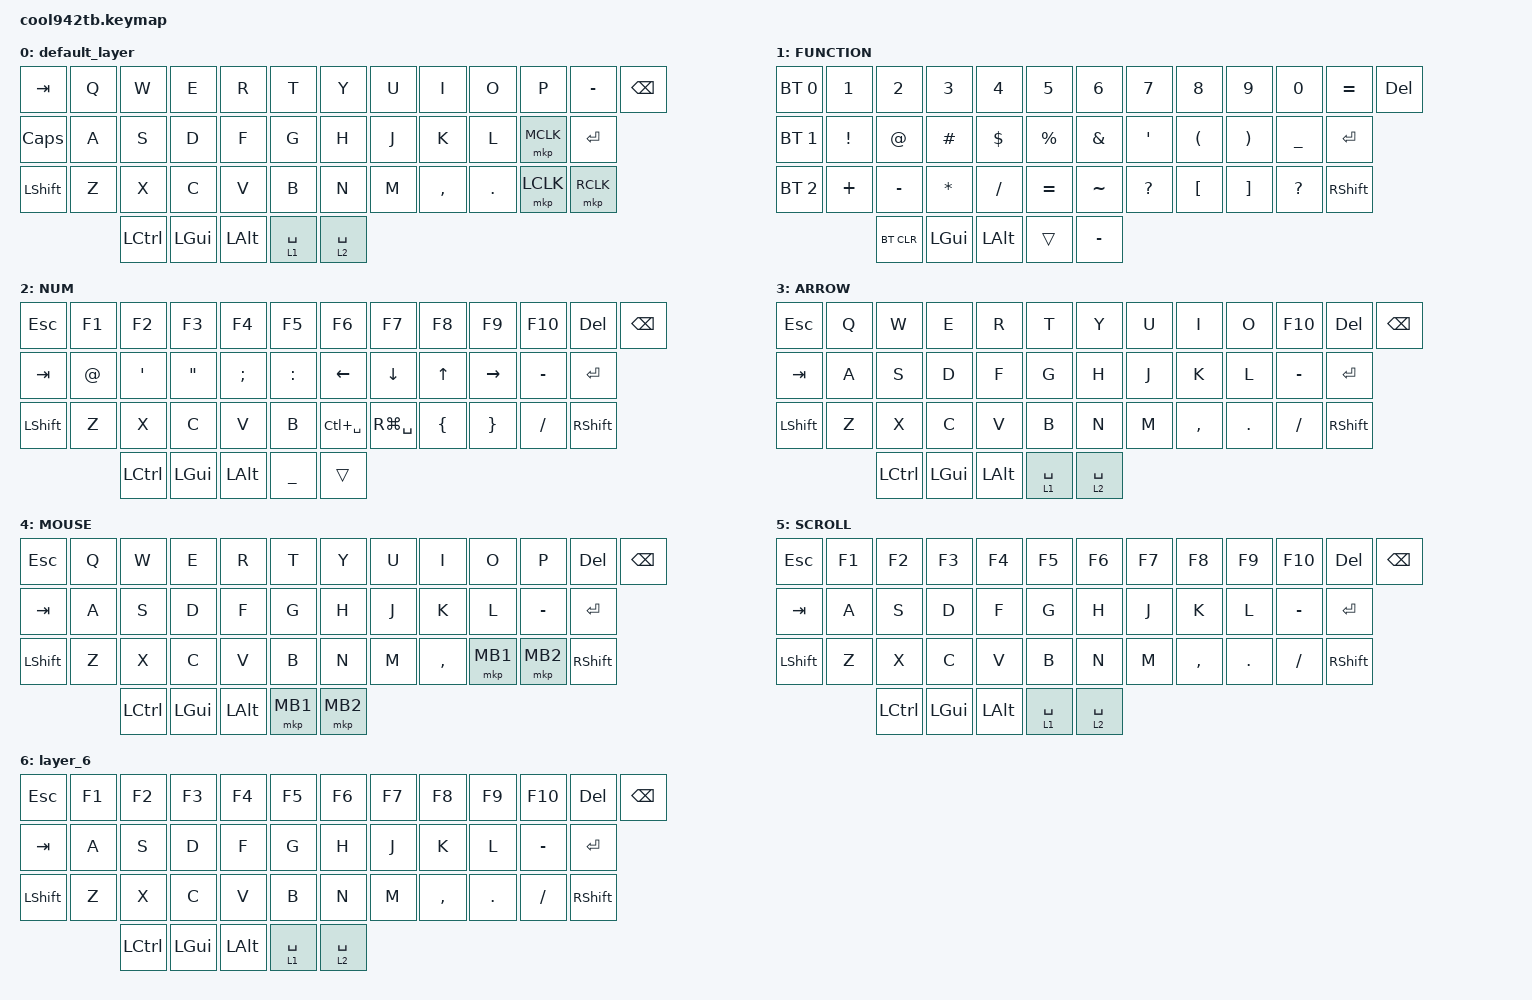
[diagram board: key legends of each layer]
#include <behaviors.dtsi>
#include <dt-bindings/zmk/bt.h>
#include <dt-bindings/zmk/keys.h>
#include <dt-bindings/zmk/pointing.h>

#define MOUSE 4
#define SCROLL 5
#define NUM 6

&mt {
    flavor = "balanced";
    quick-tap-ms = <0>;
};

/ {
    combos {
        compatible = "zmk,combos";

        clear_ble_setting {
            bindings = <&bt BT_CLR_ALL>;
            key-positions = <11 12>;
            layers = <1>;
        };

        shift_tab {
            bindings = <&mo 1>;
            key-positions = <34 33>;
            layers = <0>;
        };

        muhennkann {
            bindings = <&to_layer_0 INT_MUHENKAN>;
            key-positions = <11 10>;
        };

        double_quotation {
            bindings = <&kp DOUBLE_QUOTES>;
            key-positions = <20 21>;
        };

        eq {
            bindings = <&kp EQUAL>;
            key-positions = <24 25>;
        };

        esc {
            bindings = <&kp ESCAPE>;
            key-positions = <0 1>;
        };

        alt+grave {
            bindings = <&kp LA(GRAVE)>;
            key-positions = <13 14>;
        };
    };

    macros {
        to_layer_0: to_layer_0 {
            compatible = "zmk,behavior-macro-one-param";
            #binding-cells = <1>;
            bindings = <&to 0 &macro_param_1to1 &kp MACRO_PLACEHOLDER>;
            label = "TO_LAYER_0";
        };
    };

    behaviors {
        lt_to_layer_0: lt_to_layer_0 {
            compatible = "zmk,behavior-hold-tap";
            label = "LAYER_TAP_TO_0";
            bindings = <&mo>, <&to_layer_0>;

            #binding-cells = <2>;
            tapping-term-ms = <200>;
        };
    };

    keymap {
        compatible = "zmk,keymap";

        default_layer {
            bindings = <
&kp TAB       &kp Q  &kp W      &kp E     &kp R     &kp T        &kp Y        &kp U  &kp I      &kp O       &kp P      &kp MINUS  &kp BSPC
&kp CAPSLOCK  &kp A  &kp S      &kp D     &kp F     &kp G        &kp H        &kp J  &kp K      &kp L       &mkp MCLK  &kp ENTER
&kp LSHIFT    &kp Z  &kp X      &kp C     &kp V     &kp B        &kp N        &kp M  &kp COMMA  &kp PERIOD  &mkp LCLK  &mkp RCLK
                     &kp LCTRL  &kp LGUI  &kp LALT  &lt 1 SPACE  &lt 2 SPACE
            >;
        };

        FUNCTION {
            bindings = <
&bt BT_SEL 0  &kp N1           &kp N2       &kp N3        &kp N4      &kp N5       &kp N6         &kp N7        &kp N8                &kp N9                 &kp N0          &kp EQUAL   &kp DELETE
&bt BT_SEL 1  &kp EXCLAMATION  &kp AT_SIGN  &kp HASH      &kp DOLLAR  &kp PERCENT  &kp AMPERSAND  &kp SQT       &kp LEFT_PARENTHESIS  &kp RIGHT_PARENTHESIS  &kp UNDERSCORE  &kp ENTER
&bt BT_SEL 2  &kp PLUS         &kp MINUS    &kp ASTERISK  &kp SLASH   &kp EQUAL    &kp TILDE      &kp QUESTION  &kp LEFT_BRACKET      &kp RIGHT_BRACKET      &kp QUESTION    &kp RSHIFT
                               &bt BT_CLR   &kp LEFT_GUI  &kp LALT    &trans       &kp MINUS
            >;
        };

        NUM {
            bindings = <
&kp ESC     &kp F1       &kp F2     &kp F3             &kp F4         &kp F5          &kp F6         &kp F7          &kp F8          &kp F9           &kp F10    &kp DEL     &kp BSPC
&kp TAB     &kp AT_SIGN  &kp SQT    &kp DOUBLE_QUOTES  &kp SEMICOLON  &kp COLON       &kp LEFT       &kp DOWN_ARROW  &kp UP_ARROW    &kp RIGHT        &kp MINUS  &kp ENTER
&kp LSHIFT  &kp Z        &kp X      &kp C              &kp V          &kp B           &kp LC(SPACE)  &kp RG(SPACE)   &kp LEFT_BRACE  &kp RIGHT_BRACE  &kp SLASH  &kp RSHIFT
                         &kp LCTRL  &kp LGUI           &kp LALT       &kp UNDERSCORE  &trans
            >;
        };

        ARROW {
            bindings = <
&kp ESC     &kp Q  &kp W      &kp E     &kp R     &kp T        &kp Y        &kp U  &kp I      &kp O       &kp F10    &kp DEL     &kp BSPC
&kp TAB     &kp A  &kp S      &kp D     &kp F     &kp G        &kp H        &kp J  &kp K      &kp L       &kp MINUS  &kp ENTER
&kp LSHIFT  &kp Z  &kp X      &kp C     &kp V     &kp B        &kp N        &kp M  &kp COMMA  &kp PERIOD  &kp SLASH  &kp RSHIFT
                   &kp LCTRL  &kp LGUI  &kp LALT  &lt 1 SPACE  &lt 2 SPACE
            >;
        };

        MOUSE {
            bindings = <
&kp ESC     &kp Q  &kp W      &kp E     &kp R     &kp T     &kp Y     &kp U  &kp I      &kp O     &kp P      &kp DEL     &kp BSPC
&kp TAB     &kp A  &kp S      &kp D     &kp F     &kp G     &kp H     &kp J  &kp K      &kp L     &kp MINUS  &kp ENTER
&kp LSHIFT  &kp Z  &kp X      &kp C     &kp V     &kp B     &kp N     &kp M  &kp COMMA  &mkp MB1  &mkp MB2   &kp RSHIFT
                   &kp LCTRL  &kp LGUI  &kp LALT  &mkp MB1  &mkp MB2
            >;
        };

        SCROLL {
            bindings = <
&kp ESC     &kp F1  &kp F2     &kp F3    &kp F4    &kp F5       &kp F6       &kp F7  &kp F8     &kp F9      &kp F10    &kp DEL     &kp BSPC
&kp TAB     &kp A   &kp S      &kp D     &kp F     &kp G        &kp H        &kp J   &kp K      &kp L       &kp MINUS  &kp ENTER
&kp LSHIFT  &kp Z   &kp X      &kp C     &kp V     &kp B        &kp N        &kp M   &kp COMMA  &kp PERIOD  &kp SLASH  &kp RSHIFT
                    &kp LCTRL  &kp LGUI  &kp LALT  &lt 1 SPACE  &lt 2 SPACE
            >;
        };

        layer_6 {
            bindings = <
&kp ESC     &kp F1  &kp F2     &kp F3    &kp F4    &kp F5       &kp F6       &kp F7  &kp F8     &kp F9      &kp F10    &kp DEL     &kp BSPC
&kp TAB     &kp A   &kp S      &kp D     &kp F     &kp G        &kp H        &kp J   &kp K      &kp L       &kp MINUS  &kp ENTER
&kp LSHIFT  &kp Z   &kp X      &kp C     &kp V     &kp B        &kp N        &kp M   &kp COMMA  &kp PERIOD  &kp SLASH  &kp RSHIFT
                    &kp LCTRL  &kp LGUI  &kp LALT  &lt 1 SPACE  &lt 2 SPACE
            >;
        };
    };
};
